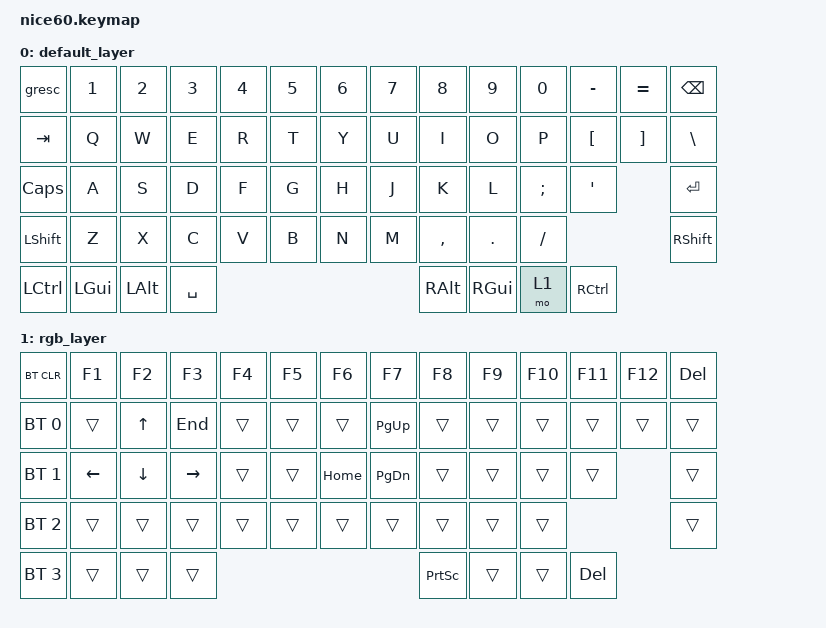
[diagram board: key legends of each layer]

/*
 * Copyright (c) 2021 Nick Winans
 *
 * SPDX-License-Identifier: MIT
 */

#include <behaviors.dtsi>
#include <dt-bindings/zmk/keys.h>
#include <dt-bindings/zmk/rgb.h>
#include <dt-bindings/zmk/bt.h>
#include <dt-bindings/zmk/outputs.h>
#include <dt-bindings/zmk/reset.h>
#include <dt-bindings/zmk/ext_power.h>

/ {
    keymap {
        compatible = "zmk,keymap";

        default_layer {
            // Normal keyboard layout
            bindings = <
                &gresc     &kp N1    &kp N2    &kp N3    &kp N4    &kp N5    &kp N6    &kp N7    &kp N8    &kp N9    &kp N0    &kp MINUS &kp EQUAL &kp BSPC
                &kp TAB    &kp Q     &kp W     &kp E     &kp R     &kp T     &kp Y     &kp U     &kp I     &kp O     &kp P     &kp LBKT  &kp RBKT  &kp BSLH
                &kp CLCK   &kp A     &kp S     &kp D     &kp F     &kp G     &kp H     &kp J     &kp K     &kp L     &kp SEMI  &kp SQT             &kp RET
                &kp LSHFT  &kp Z     &kp X     &kp C     &kp V     &kp B     &kp N     &kp M     &kp COMMA &kp DOT   &kp FSLH                      &kp RSHFT
                &kp LCTRL  &kp LGUI  &kp LALT                     &kp SPACE                     &kp RALT  &kp RGUI  &mo 1     &kp RCTRL
            >;
        };

        rgb_layer {
            // Fn layer:
            // WASD = arrow keys
            // H = Home, E = End
            // U = Page Up, J = Page Down
            // Backspace = Delete
            // Numbers = F1-F12
            // Bluetooth profiles remain unchanged

            bindings = <
                &bt BT_CLR    &kp F1   &kp F2   &kp F3   &kp F4          &kp F5          &kp F6          &kp F7          &kp F8       &kp F9  &kp F10  &kp F11  &kp F12  &kp DEL
                // HISTORIC ZMK RGB CONTROLS (disabled because the regional controller owns the WS2812 strip).
                // Restore only if custom RGB is disabled and CONFIG_ZMK_RGB_UNDERGLOW=y again:
                // &bt BT_SEL 0  &trans   &kp UP   &kp END  &rgb_ug RGB_HUI &rgb_ug RGB_SAI &rgb_ug RGB_BRI &kp PG_UP      &trans       &trans  &trans    &trans    &trans   &trans
                &bt BT_SEL 0  &trans   &kp UP   &kp END  &trans &trans &trans &kp PG_UP      &trans       &trans  &trans    &trans    &trans   &trans
                // HISTORIC ZMK RGB CONTROLS (disabled because the regional controller owns the WS2812 strip).
                // Restore only if custom RGB is disabled and CONFIG_ZMK_RGB_UNDERGLOW=y again:
                // &bt BT_SEL 1  &kp LEFT &kp DOWN &kp RIGHT &rgb_ug RGB_HUD &rgb_ug RGB_SAD &kp HOME       &kp PG_DN      &trans       &trans  &trans    &trans    &rgb_ug RGB_EFF
                &bt BT_SEL 1  &kp LEFT &kp DOWN &kp RIGHT &trans &trans &kp HOME       &kp PG_DN      &trans       &trans  &trans    &trans    &trans
                &bt BT_SEL 2  &trans   &trans   &trans   &trans          &trans          &trans          &trans          &trans       &trans  &trans    &trans
                // HISTORIC ZMK RGB CONTROLS (disabled because the regional controller owns the WS2812 strip).
                // Restore only if custom RGB is disabled and CONFIG_ZMK_RGB_UNDERGLOW=y again:
                // &bt BT_SEL 3  &trans   &trans   &rgb_ug RGB_TOG                            &kp PSCRN                        &trans       &trans  &kp DEL
                &bt BT_SEL 3  &trans   &trans   &trans                            &kp PSCRN                        &trans       &trans  &kp DEL
            >;
        };
    };
};
